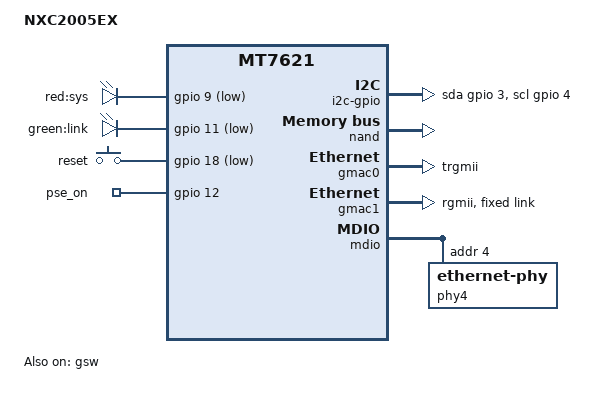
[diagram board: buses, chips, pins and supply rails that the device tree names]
/dts-v1/;

#include "mt7621.dtsi"

#include <dt-bindings/gpio/gpio.h>
#include <dt-bindings/input/input.h>

/ {
	compatible = "xwrt,nxc2005ex", "mediatek,mt7621-soc";
	model = "NXC2005EX";

	aliases {
		led-boot = &led_sys;
		led-failsafe = &led_sys;
		led-running = &led_sys;
		led-upgrade = &led_sys;
		label-mac-device = &gmac1;
	};

	chosen {
		bootargs = "console=ttyS0,115200";
	};

	leds {
		compatible = "gpio-leds";

		led_sys: sys {
			label = "red:sys";
			gpios = <&gpio 9 GPIO_ACTIVE_LOW>;
			default-state = "off";
		};

		led_link: link {
			label = "green:link";
			gpios = <&gpio 11 GPIO_ACTIVE_LOW>;
			default-state = "off";
		};
	};

	keys {
		compatible = "gpio-keys";

		reset {
			label = "reset";
			gpios = <&gpio 18 GPIO_ACTIVE_LOW>;
			linux,code = <KEY_RESTART>;
		};
	};

	gpio_export {
		compatible = "gpio-export";
		#size-cells = <0>;

		pse_on {
			gpio-export,name = "pse_on";
			gpio-export,output = <1>;
			gpios = <&gpio 12 GPIO_ACTIVE_HIGH>;
		};
	};

	i2c-gpio {
		#address-cells = <1>;
		#size-cells = <0>;

		compatible = "i2c-gpio";
		gpios = <&gpio 3 GPIO_ACTIVE_HIGH &gpio 4 GPIO_ACTIVE_HIGH>;
		i2c-gpio,delay-us = <2>;
	};
};

&sdhci {
	status = "disabled";
};

&nand {
	status = "okay";

	partitions {
		compatible = "fixed-partitions";
		#address-cells = <1>;
		#size-cells = <1>;

		partition@0 {
			label = "Bootloader";
			reg = <0x0 0x80000>;
		};

		partition@80000 {
			label = "Config";
			reg = <0x80000 0x80000>;
		};

		factory: partition@100000 {
			label = "factory";
			reg = <0x100000 0x80000>;
			read-only;
		};

		partition@180000 {
			label = "kernel";
			reg = <0x180000 0x400000>;
		};

		partition@580000 {
			label = "ubi";
			reg = <0x580000 0x7180000>;
		};
	};
};

&xhci {
	status = "disabled";
};

&gmac0 {
	phy-mode = "trgmii";
	nvmem-cells = <&macaddr_factory_4>;
	nvmem-cell-names = "mac-address";
	mtd-mac-address = <&factory 0x4>;
	mac-address-increment = <(1)>;
};

&gmac1 {
	status = "okay";
	nvmem-cells = <&macaddr_factory_4>;
	nvmem-cell-names = "mac-address";
	mtd-mac-address = <&factory 0x4>;
	phy-mode = "rgmii";
	fixed-link {
		speed = <1000>;
		full-duplex;
		pause;
	};
};

&mdio {
	phy4: ethernet-phy@4 {
		reg = <4>;
	};
};

&switch0 {
	/* must delete compatible property */
	/delete-property/ compatible;
};

&gsw {
	compatible = "mediatek,mt753x";
	status = "okay";

	mediatek,mdio = <&mdio>;
	mediatek,portmap = "llllw";
	mt7530,direct-phy-access;
	resets = <&rstctrl 2>;
	reset-names = "mcm";
	mediatek,mcm;

	#address-cells = <1>;
	#size-cells = <0>;

	port5: port@5 {
		compatible = "mediatek,mt753x-port";
		reg = <5>;
		phy-mode = "rgmii";
		fixed-link {
			speed = <1000>;
			full-duplex;
		};
	};

	port6: port@6 {
		compatible = "mediatek,mt753x-port";
		reg = <6>;
		phy-mode = "trgmii";
		fixed-link {
			speed = <1000>;
			full-duplex;
		};
	};
};

&state_default {
	gpio {
		groups = "i2c", "uart2", "uart3";
		function = "gpio";
	};
};

&factory {
	compatible = "nvmem-cells";
	#address-cells = <1>;
	#size-cells = <1>;

	macaddr_factory_4: macaddr@4 {
		reg = <0x4 0x6>;
	};
};
